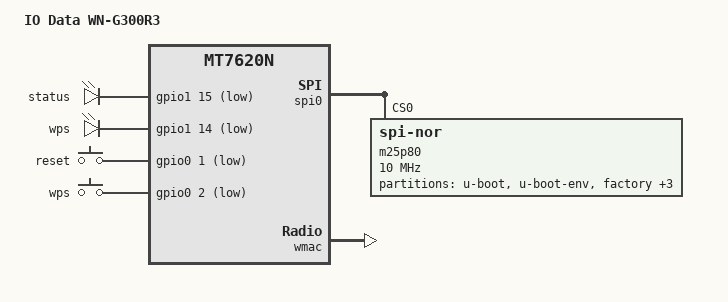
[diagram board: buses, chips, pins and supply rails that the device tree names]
/dts-v1/;

#include "mt7620n.dtsi"

/ {
	/* same as Sitecom WLR-3100 ? */
	compatible = "ralink,mt7620n-soc";
	model = "IO Data WN-G300R3";

	gpio-leds {
		compatible = "gpio-leds";

		/* LED8 GPIO#39 (power)*/
		status {
			label = "status";
			gpios = <&gpio1 15 1>;
		};

		/* LED2 GPIO#38 */
		wps {
			label = "wps";
			gpios = <&gpio1 14 1>;
		};

	};

	gpio-keys-polled {
		compatible = "gpio-keys-polled";
		#address-cells = <1>;
		#size-cells = <0>;
		poll-interval = <20>;

		reset {
			label = "reset";
			gpios = <&gpio0 1 1>;
			linux,code = <0x198>;
		};

		wps {
			label = "wps";
			gpios = <&gpio0 2 1>;
			linux,code = <0x211>;
		};

	};
};

&gpio1 {
	status = "okay";
};

&gpio2 {
	status = "okay";
};

&spi0 {
	status = "okay";

	m25p80@0 {
		#address-cells = <1>;
		#size-cells = <1>;
		compatible = "jedec,spi-nor";
		reg = <0>;
		linux,modalias = "m25p80", "s25fl064k";
		spi-max-frequency = <10000000>;

		partition@0 {
			label = "u-boot";
			reg = <0x0 0x30000>;
			read-only;
		};

		partition@30000 {
			label = "u-boot-env";
			reg = <0x30000 0x10000>;
			read-only;
		};

		factory: partition@40000 {
			label = "factory";
			reg = <0x40000 0x10000>;
			read-only;
		};
/*
		partition@50000 {
			label = "firmware";
			reg = <0x50000 0x7b0000>;
		};
*/

		partition@50000 {
			label = "kernel";
			reg = <0x50000 0x100000>;
		};

		partition@110000 {
			label = "rootfs";
			reg = <0x150000 0x2b0000>;
		};

		partition@800000 {
			label = "upgrade";
			reg = <0x50000 0x3b0000>;
		};
	};
};

&pinctrl {
	state_default: pinctrl0 {
		gpio {
			ralink,group = "ephy", "wled", "pa", "i2c", "wdt", "uartf";
			ralink,function = "gpio";
		};

	};
};

&ethernet {
	mtd-mac-address = <&factory 0x4>;
	mediatek,portmap = "wllll";
};

&wmac {
	ralink,mtd-eeprom = <&factory 0>;
};

